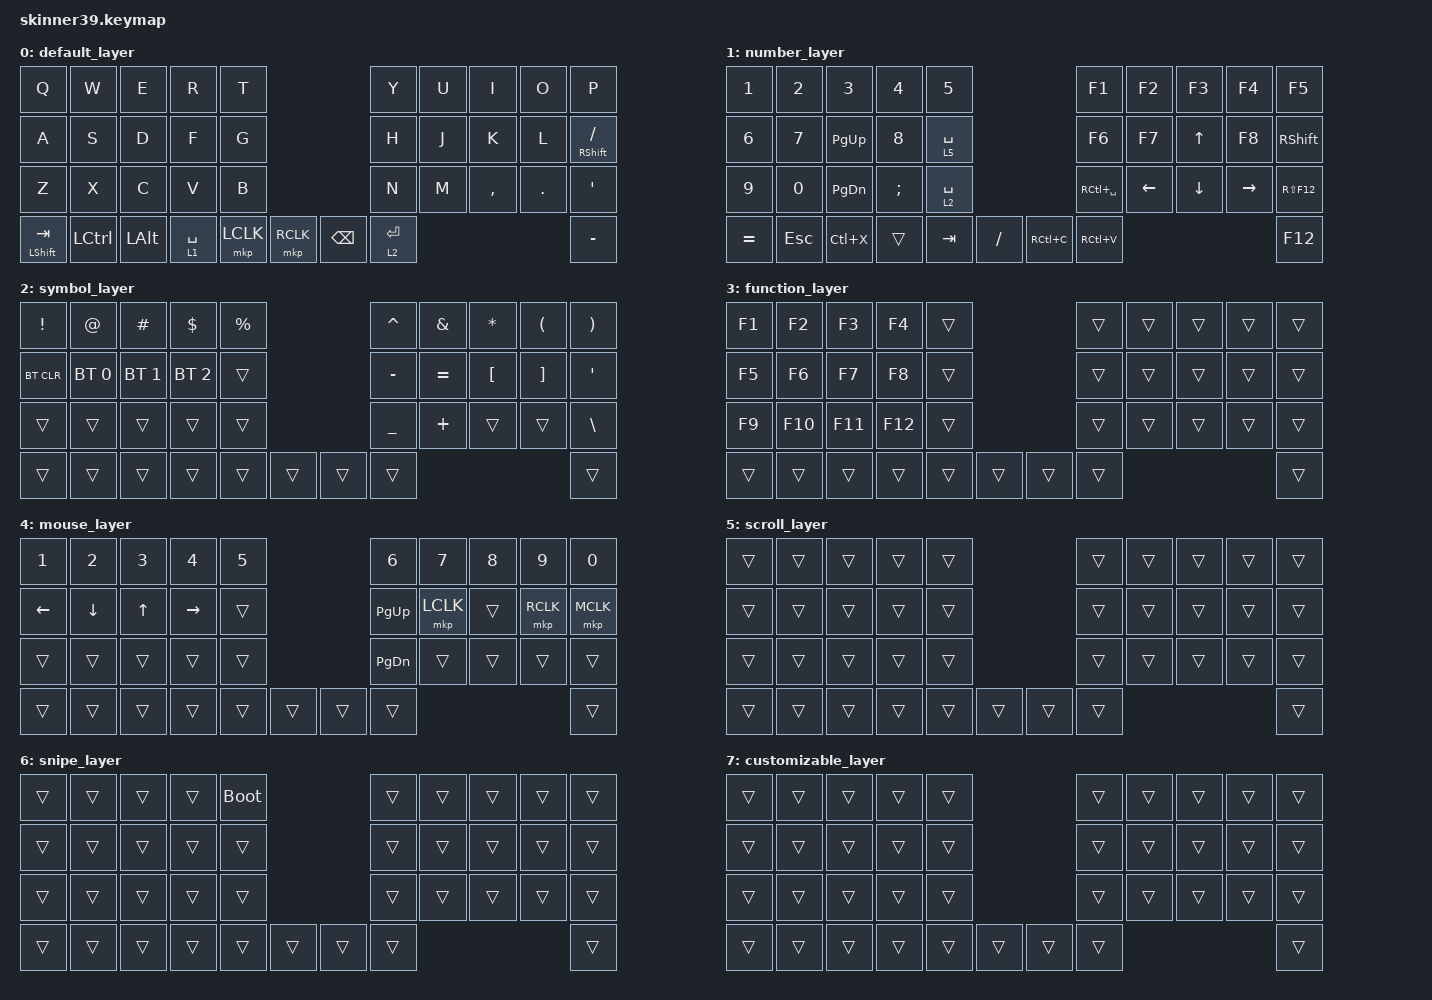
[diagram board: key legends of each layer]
#include <behaviors.dtsi>
#include <dt-bindings/zmk/bt.h>
#include <dt-bindings/zmk/keys.h>
#include <dt-bindings/zmk/pointing.h>

/ {
    keymap {
        compatible = "zmk,keymap";

        default_layer {
            bindings = <
  &kp Q               &kp W             &kp E         &kp R        &kp T                                &kp Y         &kp U  &kp I      &kp O       &kp P
  &kp A               &kp S             &kp D         &kp F        &kp G                                &kp H         &kp J  &kp K      &kp L       &mt RIGHT_SHIFT SLASH
  &kp Z               &kp X             &kp C         &kp V        &kp B                                &kp N         &kp M  &kp COMMA  &kp PERIOD  &kp APOS
  &mt LEFT_SHIFT TAB  &kp LEFT_CONTROL  &kp LEFT_ALT  &lt 1 SPACE  &mkp LCLK  &mkp RCLK  &kp BACKSPACE  &lt 2 RETURN                                &kp MINUS
            >;
        };

        number_layer {
            bindings = <
  &kp NUMBER_1  &kp NUMBER_2  &kp NUMBER_3   &kp NUMBER_4  &kp NUMBER_5                        &kp F1         &kp F2          &kp F3          &kp F4           &kp F5
  &kp NUMBER_6  &kp NUMBER_7  &kp PAGE_UP    &kp NUMBER_8  &lt 5 SPACE                         &kp F6         &kp F7          &kp UP_ARROW    &kp F8           &kp RIGHT_SHIFT
  &kp NUMBER_9  &kp NUMBER_0  &kp PAGE_DOWN  &kp SEMI      &lt 2 SPACE                         &kp RC(SPACE)  &kp LEFT_ARROW  &kp DOWN_ARROW  &kp RIGHT_ARROW  &kp RS(F12)
  &kp EQUAL     &kp ESC       &kp LC(X)      &trans        &kp TAB       &kp SLASH  &kp RC(C)  &kp RC(V)                                                       &kp F12
            >;
        };

        symbol_layer {
            bindings = <
  &kp EXCLAMATION  &kp AT_SIGN   &kp HASH      &kp DOLLAR    &kp PERCENT                  &kp CARET       &kp AMPERSAND  &kp ASTERISK      &kp LEFT_PARENTHESIS  &kp RIGHT_PARENTHESIS
  &bt BT_CLR       &bt BT_SEL 0  &bt BT_SEL 1  &bt BT_SEL 2  &trans                       &kp MINUS       &kp EQUAL      &kp LEFT_BRACKET  &kp RIGHT_BRACKET     &kp SQT
  &trans           &trans        &trans        &trans        &trans                       &kp UNDERSCORE  &kp PLUS       &trans            &trans                &kp BACKSLASH
  &trans           &trans        &trans        &trans        &trans       &trans  &trans  &trans                                                                 &trans
            >;
        };

        function_layer {
            bindings = <
  &kp F1  &kp F2   &kp F3   &kp F4   &trans                  &trans  &trans  &trans  &trans  &trans
  &kp F5  &kp F6   &kp F7   &kp F8   &trans                  &trans  &trans  &trans  &trans  &trans
  &kp F9  &kp F10  &kp F11  &kp F12  &trans                  &trans  &trans  &trans  &trans  &trans
  &trans  &trans   &trans   &trans   &trans  &trans  &trans  &trans                          &trans
            >;
        };

        mouse_layer {
            bindings = <
  &kp N1          &kp N2          &kp N3        &kp N4     &kp N5                  &kp N6         &kp N7     &kp N8  &kp N9     &kp N0
  &kp LEFT_ARROW  &kp DOWN_ARROW  &kp UP_ARROW  &kp RIGHT  &trans                  &kp PAGE_UP    &mkp LCLK  &trans  &mkp RCLK  &mkp MCLK
  &trans          &trans          &trans        &trans     &trans                  &kp PAGE_DOWN  &trans     &trans  &trans     &trans
  &trans          &trans          &trans        &trans     &trans  &trans  &trans  &trans                                       &trans
            >;
        };

        scroll_layer {
            bindings = <
  &trans  &trans  &trans  &trans  &trans                  &trans  &trans  &trans  &trans  &trans
  &trans  &trans  &trans  &trans  &trans                  &trans  &trans  &trans  &trans  &trans
  &trans  &trans  &trans  &trans  &trans                  &trans  &trans  &trans  &trans  &trans
  &trans  &trans  &trans  &trans  &trans  &trans  &trans  &trans                          &trans
            >;
        };

        snipe_layer {
            bindings = <
  &trans  &trans  &trans  &trans  &bootloader                  &trans  &trans  &trans  &trans  &trans
  &trans  &trans  &trans  &trans  &trans                       &trans  &trans  &trans  &trans  &trans
  &trans  &trans  &trans  &trans  &trans                       &trans  &trans  &trans  &trans  &trans
  &trans  &trans  &trans  &trans  &trans       &trans  &trans  &trans                          &trans
            >;
        };

        customizable_layer {
            bindings = <
  &trans  &trans  &trans  &trans  &trans                  &trans  &trans  &trans  &trans  &trans
  &trans  &trans  &trans  &trans  &trans                  &trans  &trans  &trans  &trans  &trans
  &trans  &trans  &trans  &trans  &trans                  &trans  &trans  &trans  &trans  &trans
  &trans  &trans  &trans  &trans  &trans  &trans  &trans  &trans                          &trans
            >;
        };
    };
};
